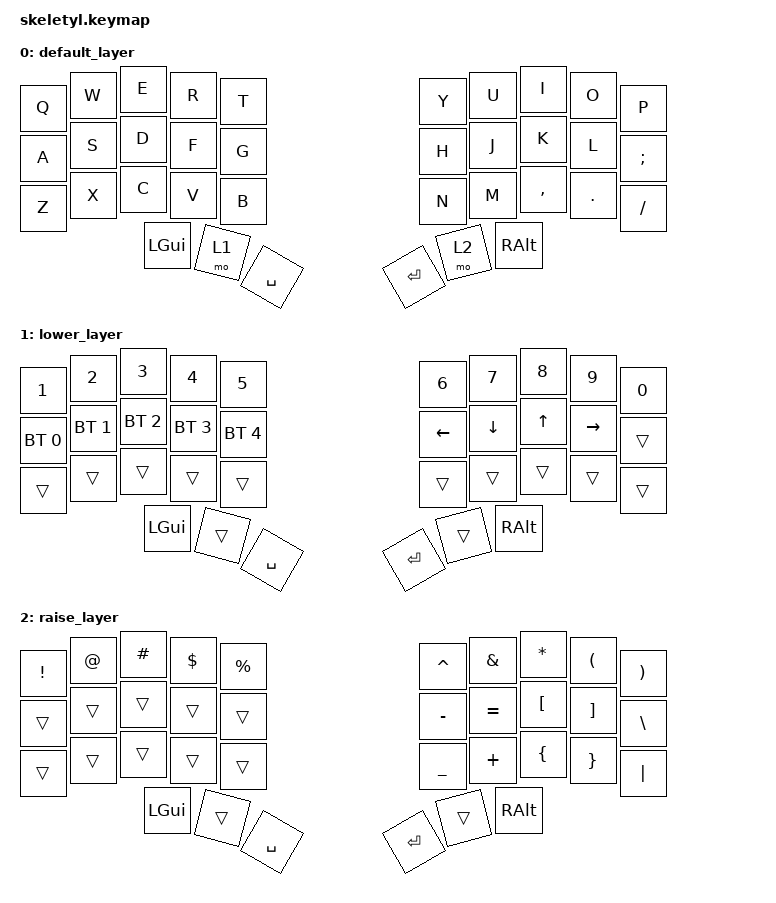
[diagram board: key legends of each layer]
/*
 * Copyright (c) 2020 The ZMK Contributors
 *
 * SPDX-License-Identifier: MIT
 */

#include <behaviors.dtsi>
#include <dt-bindings/zmk/keys.h>
#include <dt-bindings/zmk/bt.h>

/ {
        combos {
            compatible = "zmk,combos";
            combo_studio_unlock {
                timeout-ms = <50>;
                key-positions = <30 31 32>;
                bindings = <&studio_unlock>;
            };
        };
        keymap {
                compatible = "zmk,keymap";

                default_layer {
// -----------------------------------------------------------------------------------------
// |  TAB |  Q  |  W  |  E  |  R  |  T  |   |  Y  |  U   |  I  |  O  |  P  | BSPC |
// | CTRL |  A  |  S  |  D  |  F  |  G  |   |  H  |  J   |  K  |  L  |  ;  |  '   |
// | SHFT |  Z  |  X  |  C  |  V  |  B  |   |  N  |  M   |  ,  |  .  |  /  | ESC  |
//                    | GUI | LWR | SPC |   | ENT | RSE  | ALT |
                        bindings = <
             &kp Q &kp W &kp E &kp R &kp T   &kp Y &kp U  &kp I     &kp O   &kp P    
             &kp A &kp S &kp D &kp F &kp G   &kp H &kp J  &kp K     &kp L   &kp SEMI 
             &kp Z &kp X &kp C &kp V &kp B   &kp N &kp M  &kp COMMA &kp DOT &kp FSLH 
                  &kp LGUI &mo 1 &kp SPACE   &kp RET &mo 2 &kp RALT
                        >;
                };
                lower_layer {
// -----------------------------------------------------------------------------------------
// |  TAB |  1  |  2  |  3  |  4  |  5  |   |  6  |  7  |  8  |  9  |  0  | BSPC |
// | BTCLR| BT1 | BT2 | BT3 | BT4 | BT5 |   | LFT | DWN |  UP | RGT |     |      |
// | SHFT |     |     |     |     |     |   |     |     |     |     |     |      |
//                    | GUI |     | SPC |   | ENT |     | ALT |
                        bindings = <
              &kp N1       &kp N2       &kp N3       &kp N4       &kp N5         &kp N6   &kp N7   &kp N8 &kp N9    &kp N0 
              &bt BT_SEL 0 &bt BT_SEL 1 &bt BT_SEL 2 &bt BT_SEL 3 &bt BT_SEL 4   &kp LEFT &kp DOWN &kp UP &kp RIGHT &trans 
              &trans       &trans       &trans       &trans       &trans         &trans   &trans   &trans &trans    &trans 
                                    &kp LGUI     &trans       &kp SPACE      &kp RET  &trans   &kp RALT
                        >;
                };

                raise_layer {
// -----------------------------------------------------------------------------------------
// |  TAB |  !  |  @  |  #  |  $  |  %  |   |  ^  |  &  |  *  |  (  |  )  | BSPC |
// | CTRL |     |     |     |     |     |   |  -  |  =  |  [  |  ]  |  \  |  `   |
// | SHFT |     |     |     |     |     |   |  _  |  +  |  {  |  }  | "|" |  ~   |
//                    | GUI |     | SPC |   | ENT |     | ALT |
                        bindings = <
             &kp EXCL &kp AT &kp HASH &kp DLLR &kp PRCNT   &kp CARET &kp AMPS  &kp ASTRK &kp LPAR &kp RPAR          
             &trans   &trans &trans   &trans   &trans      &kp MINUS &kp EQUAL &kp LBKT  &kp RBKT &kp BSLH          
             &trans   &trans &trans   &trans   &trans      &kp UNDER &kp PLUS  &kp LBRC  &kp RBRC &kp PIPE          
                             &kp LGUI &trans   &kp SPACE   &kp RET   &trans    &kp RALT
                        >;
                };
        };
};
